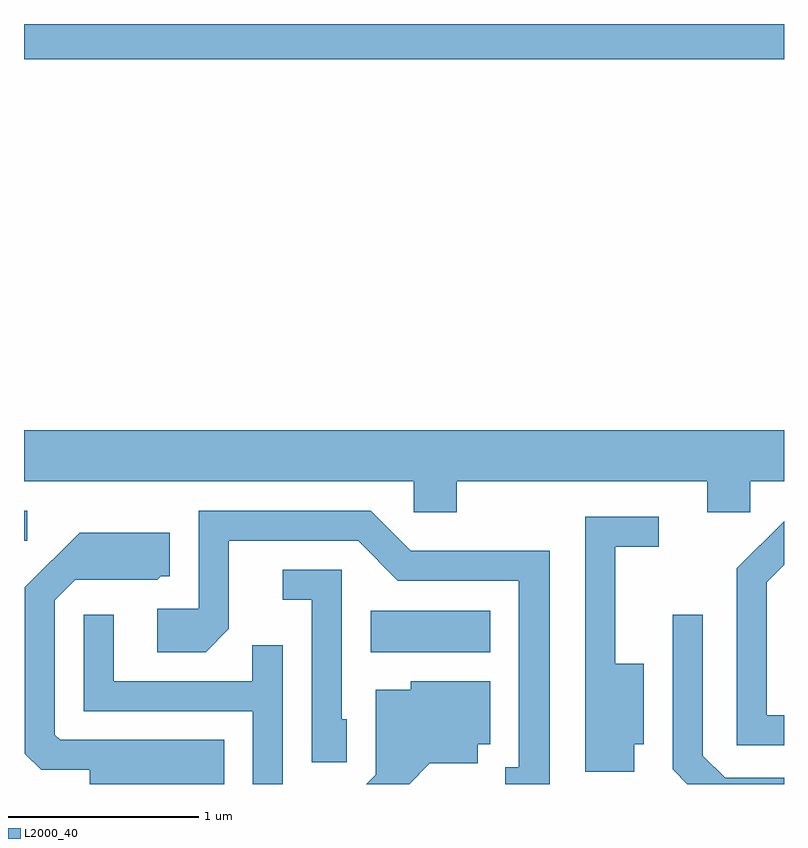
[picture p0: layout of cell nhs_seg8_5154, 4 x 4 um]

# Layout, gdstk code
import gdstk
lib = gdstk.Library(unit=1e-6, precision=1e-09)
def R(c, l, rs):  # rectangles x0, y0, x1, y1
    for r in rs: c.add(gdstk.rectangle(r[:2], r[2:], *l))
def P(c, l, *ps):  # polygons
    for p in ps: c.add(gdstk.Polygon(p, *l))
L2000_40 = (2000, 40)

nhs_seg8_5154 = lib.new_cell('nhs_seg8_5154')
R(nhs_seg8_5154, L2000_40, [(341.436,1871.036,342.064,1871.254), (339.611,1871.621,339.628,1871.779), (339.611,1874.156,343.611,1874.342)])
P(nhs_seg8_5154, L2000_40, [(341.889,1871.936),(343.206,1871.936),(343.206,1871.771),(343.434,1871.771),(343.434,1871.936),(343.611,1871.936),(343.611,1872.204),(339.611,1872.204),(339.611,1871.936),(341.661,1871.936),(341.661,1871.771),(341.889,1871.771)],
  [(342.379,1871.569),(341.647,1871.569),(341.437,1871.779),(340.531,1871.779),(340.531,1871.264),(340.311,1871.264),(340.311,1871.036),(340.567,1871.036),(340.689,1871.159),(340.689,1871.621),(341.369,1871.621),(341.579,1871.411),(342.216,1871.411),(342.216,1870.429),(342.143,1870.429),(342.143,1870.342),(342.379,1870.342)],
  [(342.824,1870.551),(342.874,1870.551),(342.874,1870.974),(342.724,1870.974),(342.724,1871.591),(342.953,1871.591),(342.953,1871.749),(342.566,1871.749),(342.566,1870.406),(342.824,1870.406)],
  [(343.611,1870.704),(343.519,1870.704),(343.519,1871.404),(343.611,1871.496),(343.611,1871.726),(343.361,1871.477),(343.361,1870.546),(343.611,1870.546)],
  [(340.664,1870.574),(339.802,1870.574),(339.774,1870.602),(339.774,1871.309),(339.882,1871.416),(340.312,1871.416),(340.332,1871.436),(340.379,1871.436),(340.379,1871.664),(339.904,1871.664),(339.616,1871.377),(339.616,1870.502),(339.702,1870.416),(339.956,1870.416),(339.956,1870.342),(340.664,1870.342)],
  [(341.309,1870.684),(341.284,1870.684),(341.284,1871.469),(340.973,1871.469),(340.973,1871.311),(341.126,1871.311),(341.126,1870.456),(341.309,1870.456)],
  [(340.974,1871.073),(340.811,1871.073),(340.811,1870.884),(340.084,1870.884),(340.084,1871.233),(339.926,1871.233),(339.926,1870.726),(340.816,1870.726),(340.816,1870.342),(340.974,1870.342)],
  [(343.611,1870.374),(343.302,1870.374),(343.184,1870.492),(343.184,1871.233),(343.026,1871.233),(343.026,1870.419),(343.103,1870.342),(343.611,1870.342)],
  [(341.747,1870.451),(341.999,1870.451),(341.999,1870.551),(342.064,1870.551),(342.064,1870.884),(341.646,1870.884),(341.646,1870.839),(341.461,1870.839),(341.461,1870.392),(341.412,1870.342),(341.638,1870.342)])

lib.write_gds('nhs_seg8_5154.gds')
